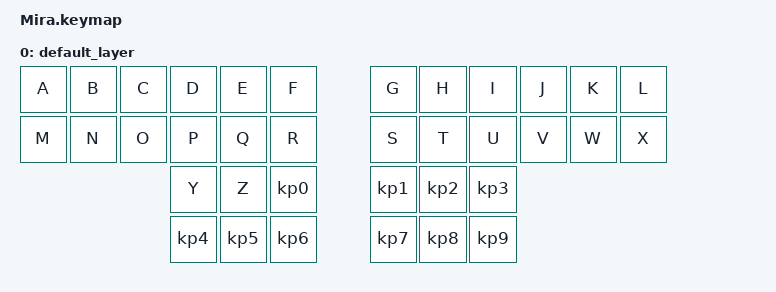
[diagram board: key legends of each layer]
#include <behaviors.dtsi>
#include <dt-bindings/zmk/keys.h>
#include <dt-bindings/zmk/bt.h>

/ {
	keymap {
		compatible = "zmk,keymap";

        default_layer {
        	bindings = <
		// |---------|---------|---------|---------|---------|---------|         |---------|---------|---------|---------|---------|---------|
		// |    A    |    B    |    C    |    D    |    E    |    F    |         |    G    |    H    |    I    |    J    |    K    |    L    |
			&kp A     &kp B     &kp C     &kp D     &kp E     &kp F               &kp G     &kp H     &kp I     &kp J     &kp K     &kp L
		// |---------|---------|---------|---------|---------|---------|         |---------|---------|---------|---------|---------|---------|
		// |    M    |    N    |    O    |    p    |    Q    |    R    |         |    S    |    T    |    U    |    V    |    W    |    X    |
			&kp M     &kp N     &kp O     &kp P     &kp Q     &kp R               &kp S     &kp T     &kp U     &kp V     &kp W     &kp X
		// |---------|---------|---------|---------|---------|---------|         |---------|---------|---------|---------|---------|---------|
		//                               |    Y    |    Z    |    0    |         |    1    |    2    |    3    |
			                              &kp Y     &kp Z     &kp KP_N0           &kp KP_N1 &kp KP_N2 &kp KP_N3
		//                               |---------|---------|---------|         |---------|---------|---------|
		//                               |    4    |    5    |    6    |         |    7    |    8    |    9    |
			                              &kp KP_N4 &kp KP_N5 &kp KP_N6           &kp KP_N7 &kp KP_N8 &kp KP_N9
		//                               |---------|---------|---------|         |---------|---------|---------|
            >;
        };
    };
};

dnethc
;u.jax
ilm
prb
